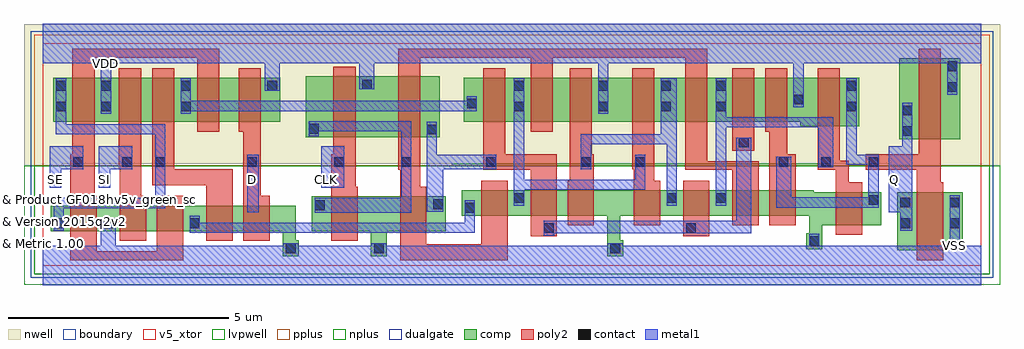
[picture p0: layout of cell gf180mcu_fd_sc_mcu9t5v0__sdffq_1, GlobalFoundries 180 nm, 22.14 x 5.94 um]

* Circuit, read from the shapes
.subckt gf180mcu_fd_sc_mcu9t5v0__sdffq_1 CLK D Q SE SI VDD VSS
XM1 VSS SE n1 VSUBS nfet_05v0 w=0.58u l=0.6u
XM2 n2 SI VSS VSUBS nfet_05v0 w=0.58u l=0.6u
XM3 n3 SE n2 VSUBS nfet_05v0 w=0.58u l=0.6u
XM4 n4 n1 n3 VSUBS nfet_05v0 w=0.58u l=0.6u
XM5 VSS D n4 VSUBS nfet_05v0 w=0.58u l=0.6u
XM6 VSS CLK n5 VSUBS nfet_05v0 w=0.79u l=0.6u
XM7 n6 n5 VSS VSUBS nfet_05v0 w=0.79u l=0.6u
XM8 n7 n5 n3 VSUBS nfet_05v0 w=0.58u l=0.6u
XM9 n8 n6 n7 VSUBS nfet_05v0 w=0.58u l=0.6u
XM10 VSS n9 n8 VSUBS nfet_05v0 w=0.58u l=0.6u
XM11 n9 n7 VSS VSUBS nfet_05v0 w=0.58u l=0.6u
XM12 n10 n6 n9 VSUBS nfet_05v0 w=0.58u l=0.6u
XM13 n11 n5 n10 VSUBS nfet_05v0 w=0.58u l=0.6u
XM14 VSS n12 n11 VSUBS nfet_05v0 w=0.58u l=0.6u
XM15 n12 n10 VSS VSUBS nfet_05v0 w=0.75u l=0.6u
XM16 VSS n12 Q VSUBS nfet_05v0 w=1.32u l=0.6u
XM17 VDD SE n1 n13 pfet_05v0 w=1u l=0.5u
XM18 n14 SI VDD n13 pfet_05v0 w=1u l=0.5u
XM19 n15 n1 n14 n13 pfet_05v0 w=1u l=0.5u
XM20 n16 SE n15 n13 pfet_05v0 w=1u l=0.5u
XM21 VDD D n16 n13 pfet_05v0 w=1u l=0.5u
XM22 VDD CLK n5 n13 pfet_05v0 w=1.38u l=0.5u
XM23 n6 n5 VDD n13 pfet_05v0 w=1.38u l=0.5u
XM24 n7 n6 n15 n13 pfet_05v0 w=1u l=0.5u
XM25 n17 n5 n7 n13 pfet_05v0 w=1u l=0.5u
XM26 VDD n9 n17 n13 pfet_05v0 w=1u l=0.5u
XM27 n9 n7 VDD n13 pfet_05v0 w=1u l=0.5u
XM28 n10 n5 n9 n13 pfet_05v0 w=1u l=0.5u
XM29 n18 n6 n10 n13 pfet_05v0 w=1u l=0.5u
XM30 VDD n12 n18 n13 pfet_05v0 w=1u l=0.5u
XM31 n12 n10 VDD n13 pfet_05v0 w=1.1u l=0.5u
XM32 VDD n12 Q n13 pfet_05v0 w=1.83u l=0.5u
.ends

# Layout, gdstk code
import gdstk
lib = gdstk.Library(unit=1e-6, precision=1e-09)
def R(c, l, rs):  # rectangles x0, y0, x1, y1
    for r in rs: c.add(gdstk.rectangle(r[:2], r[2:], *l))
def P(c, l, *ps):  # polygons
    for p in ps: c.add(gdstk.Polygon(p, *l))
boundary = (0, 0)
nwell = (21, 0)
comp = (22, 0)
poly2 = (30, 0)
pplus = (31, 0)
nplus = (32, 0)
contact = (33, 0)
metal1 = (34, 0)
dualgate = (55, 0)
v5_xtor = (112, 1)
lvpwell = (204, 0)

gf180mcu_fd_sc_mcu9t5v0_ = lib.new_cell('gf180mcu_fd_sc_mcu9t5v0__sdffq_1')
R(gf180mcu_fd_sc_mcu9t5v0_, boundary, [(0,0,21.28,5.04)])
P(gf180mcu_fd_sc_mcu9t5v0_, nwell, [(-0.43,2.265),(-0.43,5.47),(21.71,5.47),(21.71,2.265),(20.85,2.265),(20.85,2.27),(19.21,2.27),(19.21,2.31),(0.43,2.31),(0.43,2.265)])
R(gf180mcu_fd_sc_mcu9t5v0_, comp, [(19.38,0.345,20.86,1.665), (19.43,2.87,20.81,4.7), (5.965,2.91,9,4.29), (0.23,3.26,5.38,4.26)])
P(gf180mcu_fd_sc_mcu9t5v0_, comp, [(5.44,0.215),(5.44,0.78),(0.18,0.78),(0.18,1.36),(5.74,1.36),(5.74,0.575),(5.8,0.575),(5.8,0.215)],
  [(7.44,0.215),(7.44,0.78),(6.1,0.78),(6.1,1.57),(9.14,1.57),(9.14,0.78),(7.8,0.78),(7.8,0.215)],
  [(17.18,3.16),(17.18,3.26),(9.55,3.26),(9.55,4.26),(18.52,4.26),(18.52,3.16)],
  [(12.8,0.21),(12.8,1.13),(9.5,1.13),(9.5,1.71),(17.48,1.71),(17.48,1.665),(19.02,1.665),(19.02,0.915),(17.68,0.915),(17.68,0.37),(17.32,0.37),(17.32,0.73),(17.38,0.73),(17.38,1.13),(13.1,1.13),(13.1,0.57),(13.16,0.57),(13.16,0.21)])
R(gf180mcu_fd_sc_mcu9t5v0_, poly2, [(14.52,0.67,15.12,1.93), (15.64,2.61,16.14,4.48)])
P(gf180mcu_fd_sc_mcu9t5v0_, poly2, [(1.74,0.56),(1.74,2.195),(1.725,2.195),(1.725,4.48),(2.225,4.48),(2.225,1.58),(2.34,1.58),(2.34,0.56)],
  [(0.62,0.12),(0.62,2.53),(0.67,2.53),(0.67,4.92),(4,4.92),(4,3.04),(3.5,3.04),(3.5,4.72),(1.17,4.72),(1.17,1.58),(1.22,1.58),(1.22,0.32),(2.58,0.32),(2.58,1.58),(3.18,1.58),(3.18,0.12)],
  [(3.7,0.56),(3.7,1.82),(2.48,1.82),(2.48,4.48),(2.98,4.48),(2.98,2.18),(4.3,2.18),(4.3,0.56)],
  [(4.54,0.56),(4.54,3.04),(4.44,3.04),(4.44,4.48),(4.94,4.48),(4.94,1.58),(5.14,1.58),(5.14,0.56)],
  [(6.54,0.56),(6.54,2.53),(6.59,2.53),(6.59,4.51),(7.09,4.51),(7.09,1.79),(7.14,1.79),(7.14,0.56)],
  [(11.06,0.67),(11.06,2.17),(9.99,2.17),(9.99,4.48),(10.49,4.48),(10.49,2.53),(11.66,2.53),(11.66,0.67)],
  [(11.9,0.91),(11.9,1.93),(11.95,1.93),(11.95,4.48),(12.45,4.48),(12.45,2.53),(12.5,2.53),(12.5,0.91)],
  [(13.4,0.91),(13.4,2.18),(13.37,2.18),(13.37,4.48),(13.87,4.48),(13.87,1.93),(14,1.93),(14,0.91)],
  [(8.1,0.12),(8.1,2.175),(8.06,2.175),(8.06,4.92),(15.07,4.92),(15.07,2.37),(16.24,2.37),(16.24,0.91),(15.64,0.91),(15.64,2.17),(14.57,2.17),(14.57,4.72),(11.56,4.72),(11.56,3.04),(11.06,3.04),(11.06,4.72),(8.56,4.72),(8.56,1.79),(8.7,1.79),(8.7,0.48),(9.94,0.48),(9.94,1.93),(10.54,1.93),(10.54,0.12)],
  [(16.48,0.91),(16.48,3.04),(16.38,3.04),(16.38,4.48),(16.88,4.48),(16.88,2.53),(17.08,2.53),(17.08,0.91)],
  [(17.98,0.695),(17.98,2.17),(17.58,2.17),(17.58,4.48),(18.08,4.48),(18.08,2.38),(18.28,2.38),(18.28,1.885),(18.58,1.885),(18.58,0.695)],
  [(19.82,0.125),(19.82,2.17),(18.66,2.17),(18.66,2.53),(19.87,2.53),(19.87,4.92),(20.37,4.92),(20.37,1.885),(20.42,1.885),(20.42,0.125)])
R(gf180mcu_fd_sc_mcu9t5v0_, pplus, [(-0.2,2.265,21.48,5.24)])
R(gf180mcu_fd_sc_mcu9t5v0_, nplus, [(-0.2,-0.2,21.48,2.265)])
R(gf180mcu_fd_sc_mcu9t5v0_, contact, [(12.87,0.28,13.09,0.5), (5.51,0.285,5.73,0.505), (7.51,0.285,7.73,0.505), (17.39,0.44,17.61,0.66), (11.37,0.74,11.59,0.96), (14.59,0.74,14.81,0.96), (0.25,0.85,0.47,1.07), (1.37,0.85,1.59,1.07), (3.33,0.85,3.55,1.07), (19.45,0.85,19.67,1.07), (20.57,0.85,20.79,1.07), (9.57,1.2,9.79,1.42), (6.17,1.26,6.39,1.48), (8.85,1.28,9.07,1.5), (19.45,1.32,19.67,1.54), (20.57,1.32,20.79,1.54), (18.73,1.375,18.95,1.595), (10.69,1.42,10.91,1.64), (14.15,1.42,14.37,1.64), (15.27,1.42,15.49,1.64), (0.69,2.24,0.91,2.46), (1.795,2.24,2.015,2.46), (2.55,2.24,2.77,2.46), (4.635,2.24,4.855,2.46), (6.61,2.24,6.83,2.46), (8.13,2.24,8.35,2.46), (10.06,2.24,10.28,2.46), (12.21,2.24,12.43,2.46), (13.44,2.24,13.66,2.46), (16.69,2.24,16.91,2.46), (17.65,2.24,17.87,2.46), (18.73,2.24,18.95,2.46), (15.785,2.68,16.005,2.9), (19.5,2.94,19.72,3.16), (8.71,2.98,8.93,3.2), (6.035,2.995,6.255,3.215), (19.5,3.41,19.72,3.63), (0.3,3.5,0.52,3.72), (1.32,3.5,1.54,3.72), (3.13,3.5,3.35,3.72), (10.69,3.5,10.91,3.72), (12.6,3.5,12.82,3.72), (14.02,3.5,14.24,3.72), (15.27,3.5,15.49,3.72), (18.23,3.5,18.45,3.72), (9.62,3.565,9.84,3.785), (17.03,3.655,17.25,3.875), (20.52,3.94,20.74,4.16), (0.3,3.97,0.52,4.19), (1.32,3.97,1.54,4.19), (3.13,3.97,3.35,4.19), (5.09,3.97,5.31,4.19), (10.69,3.97,10.91,4.19), (12.6,3.97,12.82,4.19), (14.02,3.97,14.24,4.19), (15.27,3.97,15.49,4.19), (18.23,3.97,18.45,4.19), (7.24,4,7.46,4.22), (20.52,4.41,20.74,4.63)])
R(gf180mcu_fd_sc_mcu9t5v0_, metal1, [(4.63,1.21,4.89,2.52), (6.31,1.77,6.835,2.71)])
P(gf180mcu_fd_sc_mcu9t5v0_, metal1, [(0.15,1.77),(0.15,2.71),(0.915,2.71),(0.915,2.18),(0.41,2.18),(0.41,1.77)],
  [(1.27,1.77),(1.27,2.71),(2.02,2.71),(2.02,2.18),(1.53,2.18),(1.53,1.77)],
  [(0.245,0.79),(0.245,1.535),(2.545,1.535),(2.545,2.98),(0.295,2.98),(0.295,4.25),(0.525,4.25),(0.525,3.21),(2.775,3.21),(2.775,1.305),(0.475,1.305),(0.475,0.79)],
  [(6.165,1.2),(6.165,1.54),(8.125,1.54),(8.125,3.045),(6.26,3.045),(6.26,2.935),(6.03,2.935),(6.03,3.275),(8.355,3.275),(8.355,1.2)],
  [(3.325,0.74),(3.325,1.13),(3.555,1.13),(3.555,0.97),(9.565,0.97),(9.565,1.48),(9.795,1.48),(9.795,0.74)],
  [(3.125,3.44),(3.125,4.25),(3.355,4.25),(3.355,3.735),(9.615,3.735),(9.615,3.845),(9.845,3.845),(9.845,3.505),(3.355,3.505),(3.355,3.44)],
  [(8.705,1.22),(8.705,3.26),(8.935,3.26),(8.935,2.52),(10.285,2.52),(10.285,2.18),(9.075,2.18),(9.075,1.22)],
  [(10.685,1.36),(10.685,4.25),(10.915,4.25),(10.915,1.95),(13.435,1.95),(13.435,2.52),(13.665,2.52),(13.665,1.72),(10.915,1.72),(10.915,1.36)],
  [(14.145,1.36),(14.145,2.75),(12.435,2.75),(12.435,2.18),(12.205,2.18),(12.205,2.98),(14.015,2.98),(14.015,4.25),(14.375,4.25),(14.375,1.36)],
  [(11.365,0.68),(11.365,1.02),(15.725,1.02),(15.725,2.905),(16.065,2.905),(16.065,0.735),(11.595,0.735),(11.595,0.68)],
  [(15.265,1.36),(15.265,4.25),(15.495,4.25),(15.495,3.365),(17.93,3.365),(17.93,2.235),(17.59,2.235),(17.59,3.135),(15.495,3.135),(15.495,1.36)],
  [(16.63,1.315),(16.63,2.465),(16.97,2.465),(16.97,1.545),(18.725,1.545),(18.725,2.29),(18.225,2.29),(18.225,4.25),(18.455,4.25),(18.455,2.52),(18.955,2.52),(18.955,1.315)],
  [(19.445,0.79),(19.445,1.21),(19.19,1.21),(19.19,2.71),(19.495,2.71),(19.495,3.69),(19.725,3.69),(19.725,0.79)],
  [(0,-0.45),(0,0.45),(1.31,0.45),(1.31,1.075),(1.65,1.075),(1.65,0.45),(5.45,0.45),(5.45,0.51),(5.79,0.51),(5.79,0.45),(7.45,0.45),(7.45,0.51),(7.79,0.51),(7.79,0.45),(12.81,0.45),(12.81,0.505),(13.15,0.505),(13.15,0.45),(17.385,0.45),(17.385,0.72),(17.615,0.72),(17.615,0.45),(20.565,0.45),(20.565,1.6),(20.795,1.6),(20.795,0.45),(21.28,0.45),(21.28,-0.45)],
  [(1.315,3.44),(1.315,4.59),(0,4.59),(0,5.49),(21.28,5.49),(21.28,4.59),(20.745,4.59),(20.745,3.88),(20.515,3.88),(20.515,4.59),(17.255,4.59),(17.255,3.595),(17.025,3.595),(17.025,4.59),(12.825,4.59),(12.825,3.44),(12.595,3.44),(12.595,4.59),(7.52,4.59),(7.52,3.995),(7.18,3.995),(7.18,4.59),(5.37,4.59),(5.37,3.965),(5.03,3.965),(5.03,4.59),(1.545,4.59),(1.545,3.44)])
R(gf180mcu_fd_sc_mcu9t5v0_, dualgate, [(-0.28,-0.28,21.56,5.32)])
R(gf180mcu_fd_sc_mcu9t5v0_, v5_xtor, [(0,0,21.28,5.04)])
P(gf180mcu_fd_sc_mcu9t5v0_, lvpwell, [(-0.43,-0.43),(-0.43,2.265),(9.27,2.265),(9.27,2.31),(17.71,2.31),(17.71,2.265),(21.71,2.265),(21.71,-0.43)])
gf180mcu_fd_sc_mcu9t5v0_.add(gdstk.Label('CLK', (6.44,1.96), layer=34, texttype=10))
gf180mcu_fd_sc_mcu9t5v0_.add(gdstk.Label('D', (4.76,1.96), layer=34, texttype=10))
gf180mcu_fd_sc_mcu9t5v0_.add(gdstk.Label('Q', (19.32,1.96), layer=34, texttype=10))
gf180mcu_fd_sc_mcu9t5v0_.add(gdstk.Label('SE', (0.28,1.96), layer=34, texttype=10))
gf180mcu_fd_sc_mcu9t5v0_.add(gdstk.Label('SI', (1.4,1.96), layer=34, texttype=10))
gf180mcu_fd_sc_mcu9t5v0_.add(gdstk.Label('VDD', (1.43,4.59), layer=34, texttype=10))
gf180mcu_fd_sc_mcu9t5v0_.add(gdstk.Label('VSS', (20.68,0.45), layer=34, texttype=10))
gf180mcu_fd_sc_mcu9t5v0_.add(gdstk.Label('& Vendor GLOBALFOUNDRIES', (0,2), layer=63, texttype=63))
gf180mcu_fd_sc_mcu9t5v0_.add(gdstk.Label('& Product GF018hv5v_green_sc9', (0,1.5), layer=63, texttype=63))
gf180mcu_fd_sc_mcu9t5v0_.add(gdstk.Label('& Version 2015q2v2', (0,1), layer=63, texttype=63))
gf180mcu_fd_sc_mcu9t5v0_.add(gdstk.Label('& Metric 1.00', (0,0.5), layer=63, texttype=63))

lib.write_gds('gf180mcu_fd_sc_mcu9t5v0__sdffq_1.gds')
